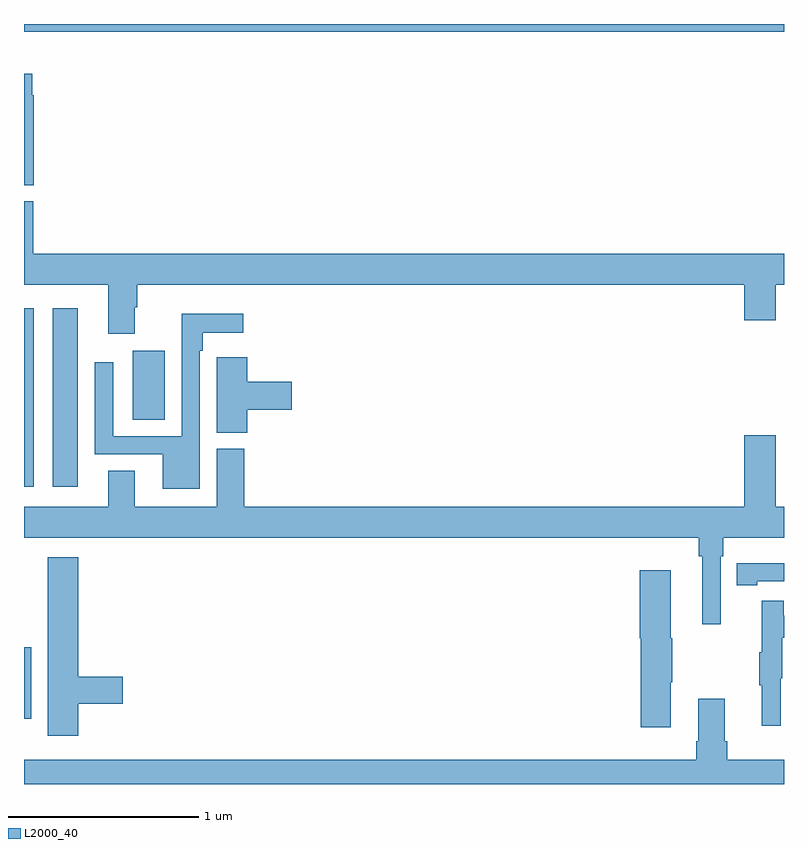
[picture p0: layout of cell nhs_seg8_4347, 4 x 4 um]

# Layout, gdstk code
import gdstk
lib = gdstk.Library(unit=1e-6, precision=1e-09)
def R(c, l, rs):  # rectangles x0, y0, x1, y1
    for r in rs: c.add(gdstk.rectangle(r[:2], r[2:], *l))
def P(c, l, *ps):  # polygons
    for p in ps: c.add(gdstk.Polygon(p, *l))
L2000_40 = (2000, 40)

nhs_seg8_4347 = lib.new_cell('nhs_seg8_4347')
R(nhs_seg8_4347, L2000_40, [(377,1086.243,377.037,1086.619), (377,1087.464,377.05,1088.404), (377.15,1087.464,377.284,1088.404), (377.573,1087.816,377.74,1088.179), (377,1089.86,381,1089.9)])
P(nhs_seg8_4347, L2000_40, [(377.051,1089.524),(377.044,1089.524),(377.044,1089.637),(377,1089.637),(377,1089.051),(377.051,1089.051)],
  [(377.584,1088.408),(377.597,1088.408),(377.597,1088.528),(380.792,1088.528),(380.792,1088.34),(380.956,1088.34),(380.956,1088.528),(381,1088.528),(381,1088.692),(377.048,1088.692),(377.048,1088.966),(377,1088.966),(377,1088.528),(377.444,1088.528),(377.444,1088.271),(377.584,1088.271)],
  [(377.925,1088.18),(377.941,1088.18),(377.941,1088.276),(378.154,1088.276),(378.154,1088.374),(377.829,1088.374),(377.829,1087.731),(377.469,1087.731),(377.469,1088.119),(377.373,1088.119),(377.373,1087.635),(377.729,1087.635),(377.729,1087.454),(377.925,1087.454)],
  [(378.176,1087.871),(378.409,1087.871),(378.409,1088.018),(378.176,1088.018),(378.176,1088.146),(378.015,1088.146),(378.015,1088.033),(378.014,1088.033),(378.014,1087.75),(378.176,1087.75)],
  [(378.158,1087.665),(378.014,1087.665),(378.014,1087.36),(377.584,1087.36),(377.584,1087.55),(377.444,1087.55),(377.444,1087.36),(377,1087.36),(377,1087.196),(380.551,1087.196),(380.551,1087.1),(380.57,1087.1),(380.57,1086.741),(380.667,1086.741),(380.667,1087.1),(380.681,1087.1),(380.681,1087.196),(381,1087.196),(381,1087.36),(380.956,1087.36),(380.956,1087.735),(380.792,1087.735),(380.792,1087.36),(378.158,1087.36)],
  [(377.285,1086.322),(377.521,1086.322),(377.521,1086.464),(377.285,1086.464),(377.285,1087.093),(377.126,1087.093),(377.126,1086.153),(377.285,1086.153)],
  [(380.86,1086.966),(381,1086.966),(381,1087.063),(380.86,1087.063),(380.86,1087.062),(380.752,1087.062),(380.752,1086.946),(380.86,1086.946)],
  [(380.404,1086.436),(380.412,1086.436),(380.412,1086.666),(380.404,1086.666),(380.404,1087.024),(380.24,1087.024),(380.24,1086.666),(380.246,1086.666),(380.246,1086.198),(380.404,1086.198)],
  [(380.984,1086.456),(380.992,1086.456),(380.992,1086.67),(381,1086.67),(381,1086.786),(380.999,1086.786),(380.999,1086.865),(380.882,1086.865),(380.882,1086.593),(380.871,1086.593),(380.871,1086.419),(380.882,1086.419),(380.882,1086.207),(380.984,1086.207)],
  [(381,1086.028),(380.702,1086.028),(380.702,1086.124),(380.689,1086.124),(380.689,1086.349),(380.549,1086.349),(380.549,1086.124),(380.537,1086.124),(380.537,1086.028),(377,1086.028),(377,1085.9),(381,1085.9)])

lib.write_gds('nhs_seg8_4347.gds')
